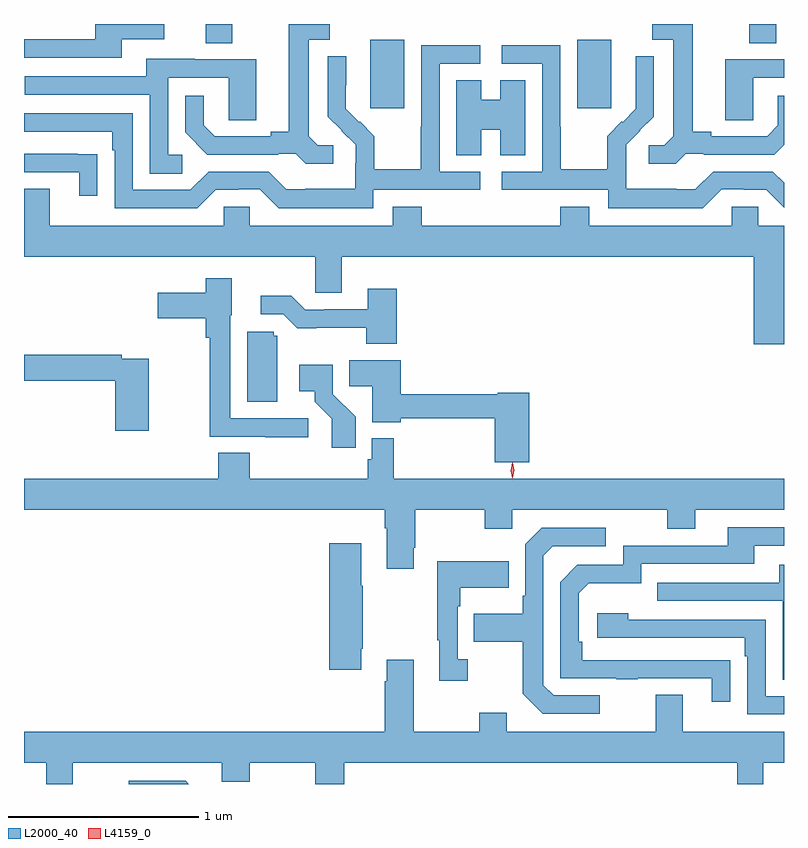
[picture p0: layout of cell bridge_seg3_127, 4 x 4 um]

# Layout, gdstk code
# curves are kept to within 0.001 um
import gdstk
lib = gdstk.Library(unit=1e-6, precision=1e-09)
def R(c, l, rs):  # rectangles x0, y0, x1, y1
    for r in rs: c.add(gdstk.rectangle(r[:2], r[2:], *l))
def P(c, l, *ps):  # polygons
    for p in ps: c.add(gdstk.Polygon(p, *l))
L2000_40 = (2000, 40)
L4159_0 = (4159, 0)

bridge_seg3_127 = lib.new_cell('bridge_seg3_127')
R(bridge_seg3_127, L2000_40, [(365.81,704.361,365.989,704.722), (366.899,704.361,367.078,704.722), (364.943,704.704,365.083,704.805), (367.805,704.704,367.945,704.805)])
P(bridge_seg3_127, L2000_40, [(364.501,704.724),(364.726,704.724),(364.726,704.805),(364.361,704.805),(364.361,704.724),(363.987,704.724),(363.987,704.628),(364.501,704.628)],
  [(367.47,704.121),(367.564,704.121),(367.564,704.118),(367.936,704.118),(367.987,704.169),(367.987,704.428),(367.955,704.428),(367.955,704.271),(367.898,704.214),(367.603,704.214),(367.603,704.237),(367.507,704.237),(367.507,704.805),(367.293,704.805),(367.293,704.721),(367.403,704.721),(367.403,704.213),(367.356,704.166),(367.275,704.166),(367.275,704.069),(367.418,704.069)],
  [(365.614,704.166),(365.532,704.166),(365.485,704.213),(365.485,704.721),(365.596,704.721),(365.596,704.805),(365.381,704.805),(365.381,704.237),(365.285,704.237),(365.285,704.214),(364.99,704.214),(364.933,704.271),(364.933,704.428),(364.836,704.428),(364.836,704.234),(364.952,704.118),(365.324,704.118),(365.324,704.121),(365.418,704.121),(365.47,704.069),(365.614,704.069)],
  [(365.826,703.932),(366.388,703.932),(366.388,704.028),(366.174,704.028),(366.174,704.595),(366.388,704.595),(366.388,704.694),(366.078,704.694),(366.078,704.264),(366.076,704.264),(366.076,704.041),(365.831,704.041),(365.831,704.215),(365.754,704.292),(365.751,704.289),(365.681,704.36),(365.682,704.636),(365.586,704.636),(365.586,704.318),(365.732,704.17),(365.732,704.073),(365.73,704.073),(365.73,703.939),(365.467,703.939),(365.467,703.935),(365.367,703.935),(365.274,704.028),(364.959,704.028),(364.863,703.932),(364.56,703.932),(364.56,704.334),(363.987,704.334),(363.987,704.238),(364.451,704.238),(364.451,704.141),(364.464,704.141),(364.464,703.836),(364.899,703.836),(364.995,703.932),(365.114,703.932),(365.114,703.935),(365.229,703.935),(365.329,703.835),(365.826,703.835)],
  [(367.659,703.935),(367.775,703.935),(367.775,703.932),(367.893,703.932),(367.987,703.838),(367.987,703.97),(367.929,704.028),(367.614,704.028),(367.521,703.935),(367.421,703.935),(367.421,703.939),(367.158,703.939),(367.158,704.073),(367.156,704.073),(367.156,704.17),(367.302,704.318),(367.302,704.636),(367.206,704.636),(367.206,704.482),(367.208,704.482),(367.208,704.36),(367.137,704.289),(367.134,704.292),(367.057,704.215),(367.057,704.041),(366.813,704.041),(366.813,704.264),(366.81,704.264),(366.81,704.694),(366.501,704.694),(366.501,704.595),(366.714,704.595),(366.714,704.028),(366.501,704.028),(366.501,703.932),(367.062,703.932),(367.062,703.835),(367.559,703.835)],
  [(364.819,704.118),(364.746,704.118),(364.746,704.523),(365.064,704.523),(365.064,704.299),(365.209,704.299),(365.209,704.619),(364.885,704.619),(364.885,704.623),(364.631,704.623),(364.631,704.529),(363.991,704.529),(363.991,704.433),(364.65,704.433),(364.65,704.017),(364.819,704.017)],
  [(367.824,704.523),(367.987,704.523),(367.987,704.619),(367.679,704.619),(367.679,704.299),(367.824,704.299)],
  [(366.394,704.249),(366.494,704.249),(366.494,704.113),(366.625,704.113),(366.625,704.51),(366.494,704.51),(366.494,704.407),(366.394,704.407),(366.394,704.51),(366.263,704.51),(366.263,704.113),(366.394,704.113)],
  [(364.373,704.12),(364.271,704.12),(364.271,704.121),(363.987,704.121),(363.987,704.025),(364.277,704.025),(364.277,703.902),(364.373,703.902)],
  [(367.987,703.744),(367.851,703.744),(367.851,703.842),(367.713,703.842),(367.713,703.744),(366.961,703.744),(366.961,703.843),(366.809,703.843),(366.809,703.744),(366.08,703.744),(366.08,703.843),(365.927,703.843),(365.927,703.744),(365.175,703.744),(365.175,703.842),(365.037,703.842),(365.037,703.744),(364.123,703.744),(364.123,703.939),(363.987,703.939),(363.987,703.58),(365.52,703.58),(365.52,703.39),(365.659,703.39),(365.659,703.58),(367.829,703.58),(367.829,703.119),(367.987,703.119)],
  [(365.482,702.729),(365.073,702.729),(365.073,703.272),(365.08,703.272),(365.08,703.468),(364.944,703.468),(364.944,703.39),(364.692,703.39),(364.692,703.256),(364.944,703.256),(364.944,703.154),(364.965,703.154),(364.965,702.633),(365.257,702.633),(365.257,702.631),(365.482,702.631)],
  [(365.948,703.411),(365.795,703.411),(365.795,703.305),(365.566,703.305),(365.566,703.302),(365.466,703.302),(365.393,703.375),(365.232,703.375),(365.232,703.278),(365.352,703.278),(365.425,703.205),(365.788,703.206),(365.788,703.121),(365.948,703.121)],
  [(365.32,703.164),(365.301,703.164),(365.301,703.185),(365.162,703.185),(365.162,702.816),(365.32,702.816)],
  [(364.644,703.044),(364.502,703.044),(364.502,703.064),(363.987,703.064),(363.987,702.928),(364.466,702.928),(364.466,702.663),(364.644,702.663)],
  [(366.647,702.865),(366.48,702.865),(366.48,702.857),(365.969,702.857),(365.969,703.036),(365.698,703.036),(365.698,702.898),(365.819,702.898),(365.819,702.71),(365.969,702.71),(365.969,702.729),(366.464,702.729),(366.464,702.498),(366.647,702.498)],
  [(365.732,702.738),(365.613,702.857),(365.613,703.012),(365.436,703.012),(365.436,702.872),(365.516,702.872),(365.516,702.817),(365.607,702.727),(365.607,702.576),(365.732,702.576)],
  [(366.037,702.049),(366.045,702.049),(366.045,702.248),(366.412,702.248),(366.412,702.149),(366.558,702.149),(366.558,702.248),(367.372,702.248),(367.372,702.149),(367.519,702.149),(367.519,702.248),(367.987,702.248),(367.987,702.412),(365.933,702.412),(365.933,702.625),(365.817,702.625),(365.817,702.513),(365.797,702.513),(365.797,702.412),(365.174,702.412),(365.174,702.548),(365.009,702.548),(365.009,702.412),(363.987,702.412),(363.987,702.248),(365.885,702.248),(365.885,702.152),(365.897,702.152),(365.897,701.937),(366.037,701.937)],
  [(367.703,701.456),(366.926,701.457),(366.926,701.554),(366.906,701.554),(366.906,701.808),(366.959,701.861),(367.236,701.861),(367.236,701.964),(367.831,701.964),(367.831,702.06),(367.987,702.06),(367.987,702.156),(367.691,702.156),(367.691,702.06),(367.14,702.06),(367.14,701.958),(366.9,701.958),(366.81,701.868),(366.81,701.361),(367.105,701.361),(367.105,701.356),(367.217,701.356),(367.217,701.361),(367.607,701.361),(367.607,701.238),(367.703,701.238)],
  [(367.018,701.271),(366.774,701.271),(366.72,701.325),(366.72,702.006),(366.771,702.057),(367.048,702.057),(367.048,702.153),(366.711,702.153),(366.624,702.066),(366.624,701.797),(366.612,701.797),(366.612,701.701),(366.355,701.701),(366.355,701.554),(366.612,701.554),(366.612,701.281),(366.717,701.175),(367.018,701.175)],
  [(365.761,701.518),(365.769,701.518),(365.769,701.849),(365.761,701.849),(365.761,702.073),(365.594,702.073),(365.594,701.406),(365.761,701.406)],
  [(366.322,701.462),(366.27,701.462),(366.27,701.741),(366.283,701.741),(366.283,701.837),(366.539,701.837),(366.539,701.977),(366.162,701.977),(366.162,701.561),(366.173,701.561),(366.173,701.349),(366.322,701.349)],
  [(367.987,701.959),(367.961,701.959),(367.961,701.865),(367.321,701.865),(367.321,701.769),(367.98,701.769),(367.98,701.353),(367.987,701.353)],
  [(367.987,701.268),(367.89,701.268),(367.89,701.67),(367.166,701.67),(367.166,701.704),(367.005,701.704),(367.005,701.574),(367.781,701.574),(367.781,701.477),(367.794,701.477),(367.794,701.172),(367.987,701.172)],
  [(364.243,700.916),(365.027,700.916),(365.027,700.817),(365.175,700.817),(365.175,700.916),(365.519,700.916),(365.519,700.805),(365.672,700.805),(365.672,700.916),(367.74,700.916),(367.74,700.805),(367.879,700.805),(367.879,700.916),(367.987,700.916),(367.987,701.08),(367.453,701.08),(367.453,701.275),(367.313,701.275),(367.313,701.08),(366.529,701.08),(366.529,701.179),(366.382,701.179),(366.382,701.08),(366.037,701.08),(366.037,701.458),(365.897,701.458),(365.897,701.345),(365.885,701.345),(365.885,701.08),(363.987,701.08),(363.987,700.916),(364.103,700.916),(364.103,700.805),(364.243,700.805)],
  [(364.839,700.821),(364.539,700.821),(364.539,700.805),(364.855,700.805)])
P(bridge_seg3_127, L4159_0, [(366.558,702.415),(366.558,702.416),(366.548,702.455),(366.558,702.495),(366.558,702.495),(366.559,702.495),(366.568,702.456),(366.559,702.416)])

lib.write_gds('bridge_seg3_127.gds')
